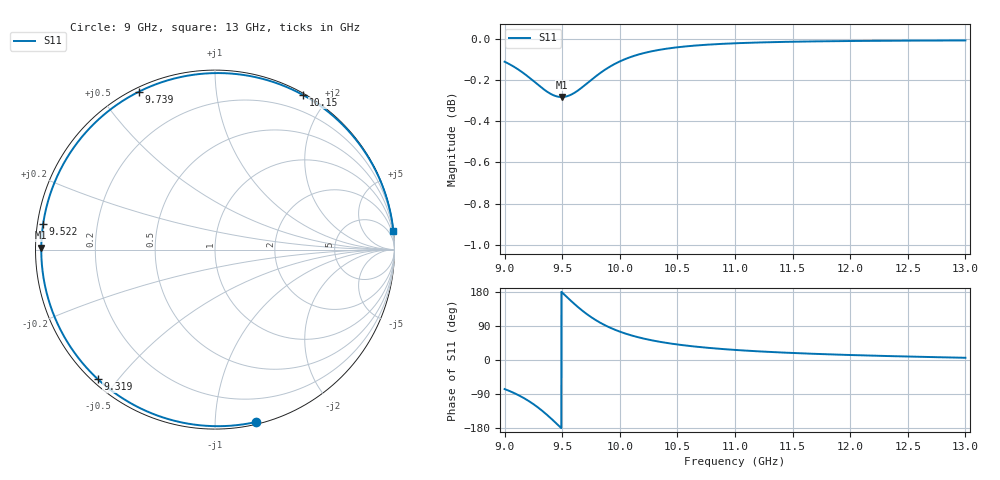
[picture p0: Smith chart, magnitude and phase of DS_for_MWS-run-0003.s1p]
! TOUCHSTONE file generated by CST DESIGN STUDIO
! Date and time: Tue Feb  4 17:30:54 2025
! Project name: C:\Work\MatlabApps\UnitCellOptimizationMatlab\CST\unitcell.cst
! Tree item: Tasks\Sweep1\SPara1\S-Parameters
! Header version: 2024
! Port assignment regex: !\s*Touchstone port\s*([0-9]+)\s*=\s*(CST MWS port|CST DES external port|CST DES block port)\s*(.+)\s* \(\"(.*)\"\)(\s*mode\s*([0-9]+))?.*
! Touchstone port assignment:
! Touchstone port 1 = CST DES external port 1 ("")
# GHz S MA R 50
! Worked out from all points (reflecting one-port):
!   4001 points, 9 GHz to 13 GHz, reference 50 ohm
!   lowest |S11| = -0.3 dB at 9.495 GHz (marker M1), VSWR 61.52, Z = 0.813 + j0.28 ohm
!   phase of S11 starts at -77 deg and turns -277 deg over the sweep
!   S11 on the Smith chart (normalised r, x): 9 GHz: 0.02, -1.26; 9.319 GHz: 0.02, -0.44; 9.522 GHz: 0.02, +0.07; 9.739 GHz: 0.02, +0.63; 10.15 GHz: 0.02, +1.72; 13 GHz: 0, +20
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9  0.9873 -76.7
9.083  0.9845 -87.3
9.183  0.9801 -103.3
9.254  0.9766 -117.3
9.319  0.9732 -132.2
9.366  0.971 -144.2
9.415  0.9692 -157.6
9.456  0.9683 -169.3
9.495  0.968 179.4
9.5  0.968 177.9
9.522  0.9682 171.5
9.575  0.9692 156.3
9.635  0.9715 140.1
9.686  0.9739 127.5
9.739  0.9766 115.7
9.792  0.9793 105.2
9.851  0.9821 94.9
9.925  0.985 84.0
10  0.9875 74.9
10.155  0.9912 60.4
10.312  0.9936 50.0
10.5  0.9953 41.0
10.722  0.9966 33.4
11  0.9976 26.6
11.5  0.9984 18.5
12  0.9988 13.2
12.5  0.9991 9.1
13  0.9992 5.9
